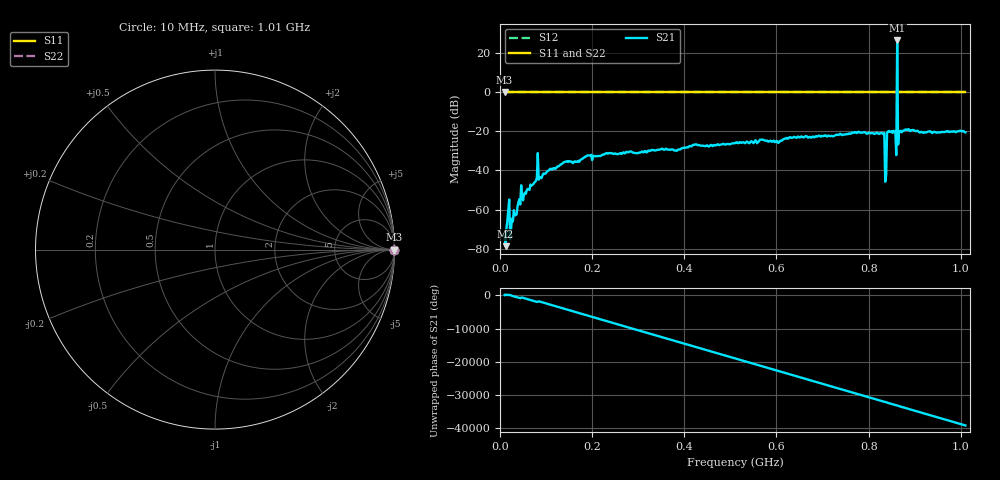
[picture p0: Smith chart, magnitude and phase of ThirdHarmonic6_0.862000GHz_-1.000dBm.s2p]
! 8/16/2025 4:29:56 AM
! C:\ANRITSUVNA\TEMP\TEMP.S2P
! CHANNEL.1
! TR.MEASUREMENT
! RAW.DATA
! RF.CORRECTION.OFF
! AVERAGING.OFF
! IF.BANDWIDTH: 5KHZ
! SWEEPTYPE:  FREQ.SWEEP(Linear)
! Reference Plane Port Info
! PORT:  PORT1  PORT2
! DISTANCE:  0  m  0  m
! TIME:  0  s  0  s
! PHASE.OFFSET:  0  deg.  0  deg.
! LOSS:  0  dB  0  dB
! REF.LOSS:  0  dB  0  dB
! REF.FREQ:  0  Hz  0  Hz
! Power Info
! POWER:  -20  dBm  -20  dBm
! EFF.POWER:  -20  dBm  -20  dBm
! SOURCE.ATTEN:  0  dB  0  dB
! TEST.ATTEN:  0  dB  0  dB
# GHZ S RI R 50.0
! FREQ.GHZ  S11RE  S11IM  S21RE  S21IM  S12RE  S12IM  S22RE  S22IM
!; PortSelection: Port_12
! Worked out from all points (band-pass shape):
!   501 points, 10 MHz to 1.01 GHz, reference 50 ohm
!   highest |S21| = 26.35 dB at 862 MHz (marker M1); lowest = -78.6 dB at 12 MHz (marker M2)
!   |S21| within 3 dB of the highest: 861.8975 MHz to 862.113 MHz (215.6 kHz wide, 0.025 % of centre)
!   lowest |S11| = 0.0 dB at 10 MHz (marker M3)
!   |S11| at or under -10 dB: nowhere
!   |S22| runs from 0.0 to 0.0 dB; largest |S21 - S12| = 20
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0.01  1 0  -9.72e-05 0.000189  1 0  1 0
0.012  1 0  -3.2e-05 -0.000112  1 0  1 0
0.016  1 0  -0.000268 0.000448  1 0  1 0
0.026  1 0  -0.000414 -0.000421  1 0  1 0
0.044  1 0  -0.00079 -0.0011  1 0  1 0
0.074  1 0  0.00074 0.00475  1 0  1 0
0.078  1 0  0.00152 -0.0052  1 0  1 0
0.178  1 0  -0.0192 -0.00269  1 0  1 0
0.344  1 0  0.031 -0.0127  1 0  1 0
0.51  1 0  -0.0409 0.0283  1 0  1 0
0.678  1 0  -0.0566 -0.0458  1 0  1 0
0.83  1 0  -0.0789 -0.0375  1 0  1 0
0.834  1 0  0.058 0.0691  1 0  1 0
0.84  1 0  -0.0875 0.0285  1 0  1 0
0.844  1 0  0.1021 0.0017  1 0  1 0
0.856  1 0  -0.0575 -0.0793  1 0  1 0
0.858  1 0  -0.089 0.0398  1 0  1 0
0.862  1 0  15.76 13.53  1 0  1 0
0.866  1 0  -0.0964 -0.0211  1 0  1 0
0.868  1 0  -0.0395 0.0912  1 0  1 0
0.884  1 0  -0.109 -0.00912  1 0  1 0
1.01  1 0  -0.0692 0.0632  1 0  1 0
